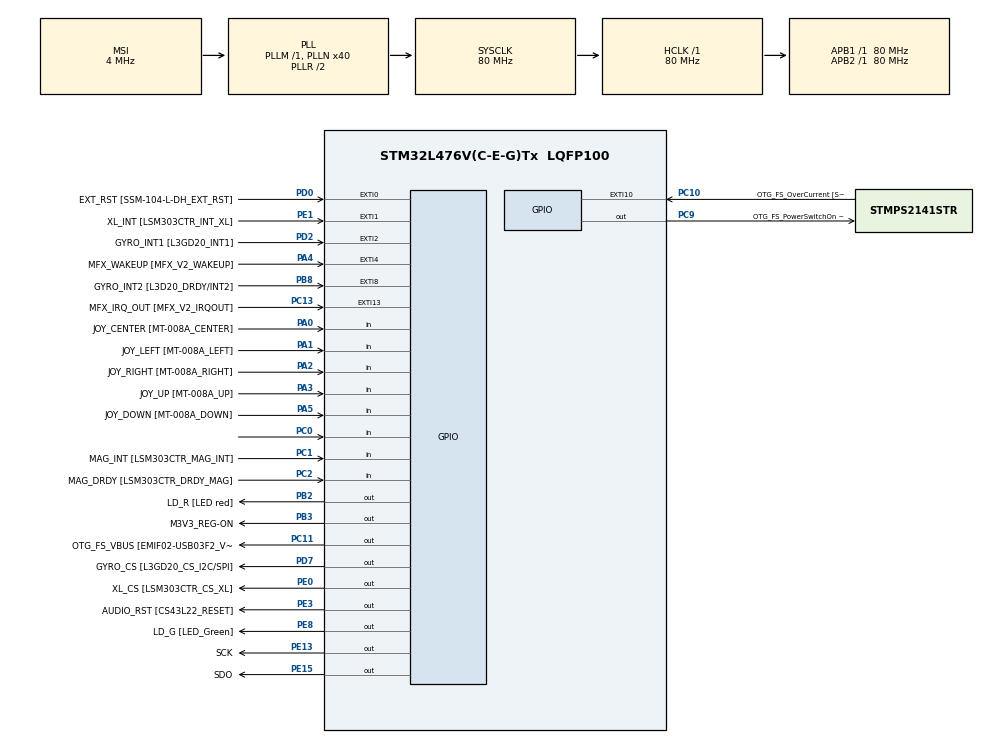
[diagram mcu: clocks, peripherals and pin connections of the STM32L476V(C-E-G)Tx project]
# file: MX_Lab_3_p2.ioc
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Mcu.Family=STM32L4
Mcu.Name=STM32L476V(C-E-G)Tx
Mcu.Package=LQFP100
NVIC.PriorityGroup=NVIC_PRIORITYGROUP_4
PA0.GPIO_Label=JOY_CENTER [MT-008A_CENTER]
PA0.GPIO_Mode=GPIO_MODE_INPUT
PA0.GPIO_PuPd=GPIO_PULLDOWN
PA0.Signal=GPIO_Input
PA1.GPIO_Label=JOY_LEFT [MT-008A_LEFT]
PA1.GPIO_Mode=GPIO_MODE_INPUT
PA1.GPIO_PuPd=GPIO_PULLDOWN
PA1.Signal=GPIO_Input
PA10.GPIO_Label=COM2 [GH08172T_COM2]
PA10.GPIO_Mode=GPIO_MODE_AF_PP
PA10.GPIO_PuPd=GPIO_NOPULL
PA10.GPIO_Speed=GPIO_SPEED_FREQ_LOW
PA10.Signal=LCD_COM2
PA11.GPIO_Label=OTG_FS_DM [EMIF02-USB03F2_D-out]
PA11.GPIO_Mode=GPIO_MODE_AF_PP
PA11.GPIO_PuPd=GPIO_NOPULL
PA11.GPIO_Speed=GPIO_SPEED_FREQ_VERY_HIGH
PA11.Signal=USB_OTG_FS_DM
PA12.GPIO_Label=OTG_FS_DP [EMIF02-USB03F2_D+out]
PA12.GPIO_Mode=GPIO_MODE_AF_PP
PA12.GPIO_PuPd=GPIO_NOPULL
PA12.GPIO_Speed=GPIO_SPEED_FREQ_VERY_HIGH
PA12.Signal=USB_OTG_FS_DP
PA13\ (JTMS-SWDIO).GPIO_Label=SWDIO
PA13\ (JTMS-SWDIO).Mode=Serial_Wire
PA13\ (JTMS-SWDIO).Signal=SYS_JTMS-SWDIO
PA14\ (JTCK-SWCLK).GPIO_Label=SWCLK
PA14\ (JTCK-SWCLK).Mode=Serial_Wire
PA14\ (JTCK-SWCLK).Signal=SYS_JTCK-SWCLK
PA15\ (JTDI).GPIO_Label=SEG10 [GH08172T_SEG10]
PA15\ (JTDI).GPIO_Mode=GPIO_MODE_AF_PP
PA15\ (JTDI).GPIO_PuPd=GPIO_NOPULL
PA15\ (JTDI).GPIO_Speed=GPIO_SPEED_FREQ_LOW
PA15\ (JTDI).Signal=LCD_SEG17
PA2.GPIO_Label=JOY_RIGHT [MT-008A_RIGHT]
PA2.GPIO_Mode=GPIO_MODE_INPUT
PA2.GPIO_PuPd=GPIO_PULLDOWN
PA2.Signal=GPIO_Input
PA3.GPIO_Label=JOY_UP [MT-008A_UP]
PA3.GPIO_Mode=GPIO_MODE_INPUT
PA3.GPIO_PuPd=GPIO_PULLDOWN
PA3.Signal=GPIO_Input
PA4.GPIO_Label=MFX_WAKEUP [MFX_V2_WAKEUP]
PA4.GPIO_ModeDefaultEXTI=GPIO_MODE_EVT_RISING
PA4.GPIO_PuPd=GPIO_NOPULL
PA4.Signal=GPXTI4
PA5.GPIO_Label=JOY_DOWN [MT-008A_DOWN]
PA5.GPIO_Mode=GPIO_MODE_INPUT
PA5.GPIO_PuPd=GPIO_PULLDOWN
PA5.Signal=GPIO_Input
PA6.GPIO_Label=SEG23 [GH08172T_SEG23]
PA6.GPIO_Mode=GPIO_MODE_AF_PP
PA6.GPIO_PuPd=GPIO_NOPULL
PA6.GPIO_Speed=GPIO_SPEED_FREQ_LOW
PA6.Signal=LCD_SEG3
PA7.GPIO_Label=SEG0 [GH08172T_SEG0]
PA7.GPIO_Mode=GPIO_MODE_AF_PP
PA7.GPIO_PuPd=GPIO_NOPULL
PA7.GPIO_Speed=GPIO_SPEED_FREQ_LOW
PA7.Signal=LCD_SEG4
PA8.GPIO_Label=COM0 [GH08172T_COM0]
PA8.GPIO_Mode=GPIO_MODE_AF_PP
PA8.GPIO_PuPd=GPIO_NOPULL
PA8.GPIO_Speed=GPIO_SPEED_FREQ_LOW
PA8.Signal=LCD_COM0
PA9.GPIO_Label=COM1 [GH08172T_COM1]
PA9.GPIO_Mode=GPIO_MODE_AF_PP
PA9.GPIO_PuPd=GPIO_NOPULL
PA9.GPIO_Speed=GPIO_SPEED_FREQ_LOW
PA9.Signal=LCD_COM1
PB0.GPIO_Label=SEG21 [GH08172T_SEG21]
PB0.GPIO_Mode=GPIO_MODE_AF_PP
PB0.GPIO_PuPd=GPIO_NOPULL
PB0.GPIO_Speed=GPIO_SPEED_FREQ_LOW
PB0.Signal=LCD_SEG5
PB1.GPIO_Label=SEG2 [GH08172T_SEG2]
PB1.GPIO_Mode=GPIO_MODE_AF_PP
PB1.GPIO_PuPd=GPIO_NOPULL
PB1.GPIO_Speed=GPIO_SPEED_FREQ_LOW
PB1.Signal=LCD_SEG6
PB10.GPIO_Label=MFX_I2C_SLC [MFX_V2_I2C_SCL]
PB10.GPIO_Mode=GPIO_MODE_AF_OD
PB10.GPIO_Pu=GPIO_PULLUP
PB10.GPIO_Speed=GPIO_SPEED_FREQ_VERY_HIGH
PB10.Signal=I2C2_SCL
PB11.GPIO_Label=MFX_I2C_SDA [MFX_V2_I2C_SDA]
PB11.GPIO_Mode=GPIO_MODE_AF_OD
PB11.GPIO_Pu=GPIO_PULLUP
PB11.GPIO_Speed=GPIO_SPEED_FREQ_VERY_HIGH
PB11.Signal=I2C2_SDA
PB12.GPIO_Label=SEG20 [GH08172T_SEG20]
PB12.GPIO_Mode=GPIO_MODE_AF_PP
PB12.GPIO_PuPd=GPIO_NOPULL
PB12.GPIO_Speed=GPIO_SPEED_FREQ_LOW
PB12.Signal=LCD_SEG12
PB13.GPIO_Label=SEG3 [GH08172T_SEG3]
PB13.GPIO_Mode=GPIO_MODE_AF_PP
PB13.GPIO_PuPd=GPIO_NOPULL
PB13.GPIO_Speed=GPIO_SPEED_FREQ_LOW
PB13.Signal=LCD_SEG13
PB14.GPIO_Label=SEG19 [GH08172T_SEG19]
PB14.GPIO_Mode=GPIO_MODE_AF_PP
PB14.GPIO_PuPd=GPIO_NOPULL
PB14.GPIO_Speed=GPIO_SPEED_FREQ_LOW
PB14.Signal=LCD_SEG14
PB15.GPIO_Label=SEG4 [GH08172T_SEG4]
PB15.GPIO_Mode=GPIO_MODE_AF_PP
PB15.GPIO_PuPd=GPIO_NOPULL
PB15.GPIO_Speed=GPIO_SPEED_FREQ_LOW
PB15.Signal=LCD_SEG15
PB2.GPIO_Label=LD_R [LED red]
PB2.GPIO_ModeDefaultOutputPP=GPIO_MODE_OUTPUT_PP
PB2.GPIO_PuPd=GPIO_PULLUP
PB2.GPIO_Speed=GPIO_SPEED_FREQ_VERY_HIGH
PB2.Signal=GPIO_Output
PB3\ (JTDO-TRACESWO).GPIO_Label=M3V3_REG-ON
PB3\ (JTDO-TRACESWO).GPIO_ModeDefaultOutputPP=GPIO_MODE_OUTPUT_PP
PB3\ (JTDO-TRACESWO).GPIO_PuPd=GPIO_NOPULL
PB3\ (JTDO-TRACESWO).GPIO_Speed=GPIO_SPEED_FREQ_LOW
PB3\ (JTDO-TRACESWO).Signal=GPIO_Output
PB4\ (NJTRST).GPIO_Label=SEG11 [GH08172T_SEG11]
PB4\ (NJTRST).GPIO_Mode=GPIO_MODE_AF_PP
PB4\ (NJTRST).GPIO_PuPd=GPIO_NOPULL
PB4\ (NJTRST).GPIO_Speed=GPIO_SPEED_FREQ_LOW
PB4\ (NJTRST).Signal=LCD_SEG8
PB5.GPIO_Label=SEG12 [GH08172T_SEG12]
PB5.GPIO_Mode=GPIO_MODE_AF_PP
PB5.GPIO_PuPd=GPIO_NOPULL
PB5.GPIO_Speed=GPIO_SPEED_FREQ_LOW
PB5.Signal=LCD_SEG9
PB6.GPIO_FM6=__NULL
PB6.GPIO_Label=I2C1_SCL [SSM-104-L-DH_SCL]
PB6.GPIO_Mode=GPIO_MODE_AF_OD
PB6.GPIO_Pu=GPIO_PULLUP
PB6.GPIO_Speed=GPIO_SPEED_FREQ_VERY_HIGH
PB6.Signal=I2C1_SCL
PB7.GPIO_FM7=__NULL
PB7.GPIO_Label=I2C1_SDA [SSM-104-L-DH_SDA]
PB7.GPIO_Mode=GPIO_MODE_AF_OD
PB7.GPIO_Pu=GPIO_PULLUP
PB7.GPIO_Speed=GPIO_SPEED_FREQ_VERY_HIGH
PB7.Signal=I2C1_SDA
PB8.GPIO_Label=GYRO_INT2 [L3D20_DRDY/INT2]
PB8.GPIO_ModeDefaultEXTI=GPIO_MODE_EVT_RISING
PB8.GPIO_PuPd=GPIO_NOPULL
PB8.Signal=GPXTI8
PB9.GPIO_FM9=__NULL
PB9.GPIO_Label=COM3 [GH08172T_COM3]
PB9.GPIO_Mode=GPIO_MODE_AF_PP
PB9.GPIO_PuPd=GPIO_NOPULL
PB9.GPIO_Speed=GPIO_SPEED_FREQ_LOW
PB9.Signal=LCD_COM3
PC0.Signal=GPIO_Input
PC1.GPIO_Label=MAG_INT [LSM303CTR_MAG_INT]
PC1.GPIO_Mode=GPIO_MODE_INPUT
PC1.GPIO_PuPd=GPIO_NOPULL
PC1.Signal=GPIO_Input
PC10.GPIO_Label=OTG_FS_OverCurrent [STMPS2141STR_FAULT]
PC10.GPIO_ModeDefaultEXTI=GPIO_MODE_EVT_RISING
PC10.GPIO_PuPd=GPIO_NOPULL
PC10.Signal=GPXTI10
PC11.GPIO_Label=OTG_FS_VBUS [EMIF02-USB03F2_Vbus]
PC11.GPIO_ModeDefaultOutputPP=GPIO_MODE_OUTPUT_PP
PC11.GPIO_PuPd=GPIO_NOPULL
PC11.GPIO_Speed=GPIO_SPEED_FREQ_LOW
PC11.Signal=GPIO_Output
PC13.GPIO_Label=MFX_IRQ_OUT [MFX_V2_IRQOUT]
PC13.GPIO_ModeDefaultEXTI=GPIO_MODE_EVT_RISING
PC13.GPIO_PuPd=GPIO_NOPULL
PC13.Signal=GPXTI13
PC14-OSC32_IN\ (PC14).Mode=LSE-External-Oscillator
PC14-OSC32_IN\ (PC14).Signal=RCC_OSC32_IN
PC15-OSC32_OUT\ (PC15).Mode=LSE-External-Oscillator
PC15-OSC32_OUT\ (PC15).Signal=RCC_OSC32_OUT
PC2.GPIO_Label=MAG_DRDY [LSM303CTR_DRDY_MAG]
PC2.GPIO_Mode=GPIO_MODE_INPUT
PC2.GPIO_PuPd=GPIO_NOPULL
PC2.Signal=GPIO_Input
PC3.GPIO_Label=VLCD
PC3.GPIO_Mode=GPIO_MODE_AF_PP
PC3.GPIO_PuPd=GPIO_NOPULL
PC3.GPIO_Speed=GPIO_SPEED_FREQ_LOW
PC3.Signal=LCD_VLCD
PC4.GPIO_Label=SEG22 [GH08172T_SEG22]
PC4.GPIO_Mode=GPIO_MODE_AF_PP
PC4.GPIO_PuPd=GPIO_NOPULL
PC4.GPIO_Speed=GPIO_SPEED_FREQ_LOW
PC4.Signal=LCD_SEG22
PC5.GPIO_Label=SEG1 [GH08172T_SEG1]
PC5.GPIO_Mode=GPIO_MODE_AF_PP
PC5.GPIO_PuPd=GPIO_NOPULL
PC5.GPIO_Speed=GPIO_SPEED_FREQ_LOW
PC5.Signal=LCD_SEG23
PC6.GPIO_Label=SEG14 [GH08172T_SEG14]
PC6.GPIO_Mode=GPIO_MODE_AF_PP
PC6.GPIO_PuPd=GPIO_NOPULL
PC6.GPIO_Speed=GPIO_SPEED_FREQ_LOW
PC6.Signal=LCD_SEG24
PC7.GPIO_Label=SEG9 [GH08172T_SEG9]
PC7.GPIO_Mode=GPIO_MODE_AF_PP
PC7.GPIO_PuPd=GPIO_NOPULL
PC7.GPIO_Speed=GPIO_SPEED_FREQ_LOW
PC7.Signal=LCD_SEG25
PC8.GPIO_Label=SEG13 [GH08172T_SEG13]
PC8.GPIO_Mode=GPIO_MODE_AF_PP
PC8.GPIO_PuPd=GPIO_NOPULL
PC8.GPIO_Speed=GPIO_SPEED_FREQ_LOW
PC8.Signal=LCD_SEG26
PC9.GPIO_Label=OTG_FS_PowerSwitchOn [STMPS2141STR_EN]
PC9.GPIO_ModeDefaultOutputPP=GPIO_MODE_OUTPUT_PP
PC9.GPIO_PuPd=GPIO_NOPULL
PC9.GPIO_Speed=GPIO_SPEED_FREQ_LOW
PC9.PinState=GPIO_PIN_SET
PC9.Signal=GPIO_Output
PD0.GPIO_Label=EXT_RST [SSM-104-L-DH_EXT_RST]
PD0.GPIO_ModeDefaultEXTI=GPIO_MODE_EVT_RISING
PD0.GPIO_PuPd=GPIO_NOPULL
PD0.Signal=GPXTI0
PD1.GPIO_Label=MEMS_SCK [L3GD20_SCL/SPC]
PD1.GPIO_Mode=GPIO_MODE_AF_PP
PD1.GPIO_PuPd=GPIO_NOPULL
PD1.GPIO_Speed=GPIO_SPEED_FREQ_VERY_HIGH
PD1.Signal=SPI2_SCK
PD10.GPIO_Label=SEG17 [GH08172T_SEG17]
PD10.GPIO_Mode=GPIO_MODE_AF_PP
PD10.GPIO_PuPd=GPIO_NOPULL
PD10.GPIO_Speed=GPIO_SPEED_FREQ_LOW
PD10.Signal=LCD_SEG30
PD11.GPIO_Label=SEG6 [GH08172T_SEG6]
PD11.GPIO_Mode=GPIO_MODE_AF_PP
PD11.GPIO_PuPd=GPIO_NOPULL
PD11.GPIO_Speed=GPIO_SPEED_FREQ_LOW
PD11.Signal=LCD_SEG31
PD12.GPIO_Label=SEG16 [GH08172T_SEG16]
PD12.GPIO_Mode=GPIO_MODE_AF_PP
PD12.GPIO_PuPd=GPIO_NOPULL
PD12.GPIO_Speed=GPIO_SPEED_FREQ_LOW
PD12.Signal=LCD_SEG32
PD13.GPIO_Label=SEG7 [GH08172T_SEG7]
PD13.GPIO_Mode=GPIO_MODE_AF_PP
PD13.GPIO_PuPd=GPIO_NOPULL
PD13.GPIO_Speed=GPIO_SPEED_FREQ_LOW
PD13.Signal=LCD_SEG33
PD14.GPIO_Label=SEG15 [GH08172T_SEG15]
PD14.GPIO_Mode=GPIO_MODE_AF_PP
PD14.GPIO_PuPd=GPIO_NOPULL
PD14.GPIO_Speed=GPIO_SPEED_FREQ_LOW
PD14.Signal=LCD_SEG34
PD15.GPIO_Label=SEG8 [GH08172T_SEG8]
PD15.GPIO_Mode=GPIO_MODE_AF_PP
PD15.GPIO_PuPd=GPIO_NOPULL
PD15.GPIO_Speed=GPIO_SPEED_FREQ_LOW
PD15.Signal=LCD_SEG35
PD2.GPIO_Label=GYRO_INT1 [L3GD20_INT1]
PD2.GPIO_ModeDefaultEXTI=GPIO_MODE_EVT_RISING
PD2.GPIO_PuPd=GPIO_NOPULL
PD2.Signal=GPXTI2
PD3.GPIO_Label=MEMS_MISO [L3GD20_SA0/SDO]
PD3.GPIO_Mode=GPIO_MODE_AF_PP
PD3.GPIO_PuPd=GPIO_NOPULL
PD3.GPIO_Speed=GPIO_SPEED_FREQ_VERY_HIGH
PD3.Signal=SPI2_MISO
PD4.GPIO_Label=MEMS_MOSI [L3GD20_SDA/SDI/SDO]
PD4.GPIO_Mode=GPIO_MODE_AF_PP
PD4.GPIO_PuPd=GPIO_NOPULL
PD4.GPIO_Speed=GPIO_SPEED_FREQ_VERY_HIGH
PD4.Signal=SPI2_MOSI
PD5.GPIO_Label=USART_TX
PD5.GPIO_Mode=GPIO_MODE_AF_PP
PD5.GPIO_PuPd=GPIO_PULLUP
PD5.GPIO_Speed=GPIO_SPEED_FREQ_VERY_HIGH
PD5.Signal=USART2_TX
PD6.GPIO_Label=USART_RX
PD6.GPIO_Mode=GPIO_MODE_AF_PP
PD6.GPIO_PuPd=GPIO_PULLUP
PD6.GPIO_Speed=GPIO_SPEED_FREQ_VERY_HIGH
PD6.Signal=USART2_RX
PD7.GPIO_Label=GYRO_CS [L3GD20_CS_I2C/SPI]
PD7.GPIO_ModeDefaultOutputPP=GPIO_MODE_OUTPUT_PP
PD7.GPIO_PuPd=GPIO_NOPULL
PD7.GPIO_Speed=GPIO_SPEED_FREQ_VERY_HIGH
PD7.Signal=GPIO_Output
PD8.GPIO_Label=SEG18 [GH08172T_SEG18]
PD8.GPIO_Mode=GPIO_MODE_AF_PP
PD8.GPIO_PuPd=GPIO_NOPULL
PD8.GPIO_Speed=GPIO_SPEED_FREQ_LOW
PD8.Signal=LCD_SEG28
PD9.GPIO_Label=SEG5 [GH08172T_SEG5]
PD9.GPIO_Mode=GPIO_MODE_AF_PP
PD9.GPIO_PuPd=GPIO_NOPULL
PD9.GPIO_Speed=GPIO_SPEED_FREQ_LOW
PD9.Signal=LCD_SEG29
PE0.GPIO_Label=XL_CS [LSM303CTR_CS_XL]
PE0.GPIO_ModeDefaultOutputPP=GPIO_MODE_OUTPUT_PP
PE0.GPIO_PuPd=GPIO_NOPULL
PE0.GPIO_Speed=GPIO_SPEED_FREQ_LOW
PE0.Signal=GPIO_Output
PE1.GPIO_Label=XL_INT [LSM303CTR_INT_XL]
PE1.GPIO_ModeDefaultEXTI=GPIO_MODE_EVT_RISING
PE1.GPIO_PuPd=GPIO_NOPULL
PE1.Signal=GPXTI1
PE10.GPIO_Label=QSPI_CLK [N25Q128A13EF840E_C]
PE10.GPIO_Mode=GPIO_MODE_AF_PP
PE10.GPIO_PuPd=GPIO_NOPULL
PE10.GPIO_Speed=GPIO_SPEED_FREQ_VERY_HIGH
PE10.Signal=QUADSPI_CLK
PE11.GPIO_Label=QSPI_CS [N25Q128A13EF840E_S\#]
PE11.GPIO_Mode=GPIO_MODE_AF_PP
PE11.GPIO_PuPd=GPIO_NOPULL
PE11.GPIO_Speed=GPIO_SPEED_FREQ_VERY_HIGH
PE11.Signal=QUADSPI_NCS
PE12.GPIO_Label=QSPI_D0 [N25Q128A13EF840E_DQ0]
PE12.GPIO_Mode=GPIO_MODE_AF_PP
PE12.GPIO_PuPd=GPIO_NOPULL
PE12.GPIO_Speed=GPIO_SPEED_FREQ_VERY_HIGH
PE12.Signal=QUADSPI_BK1_IO0
PE13.GPIO_Label=SCK
PE13.GPIO_Speed=GPIO_SPEED_FREQ_MEDIUM
PE13.Signal=GPIO_Output
PE14.GPIO_Label=QSPI_D2 [N25Q128A13EF840E_DQ2]
PE14.GPIO_Mode=GPIO_MODE_AF_PP
PE14.GPIO_PuPd=GPIO_NOPULL
PE14.GPIO_Speed=GPIO_SPEED_FREQ_VERY_HIGH
PE14.Signal=QUADSPI_BK1_IO2
PE15.GPIO_Label=SDO
PE15.GPIO_Speed=GPIO_SPEED_FREQ_MEDIUM
PE15.Signal=GPIO_Output
PE2.GPIO_Label=SAI1_MCK [CS43L22_MCLK]
PE2.GPIO_Mode=GPIO_MODE_AF_PP
PE2.GPIO_PuPd=GPIO_NOPULL
PE2.GPIO_Speed=GPIO_SPEED_FREQ_VERY_HIGH
PE2.Signal=SAI1_MCLK_A
PE3.GPIO_Label=AUDIO_RST [CS43L22_RESET]
PE3.GPIO_ModeDefaultOutputPP=GPIO_MODE_OUTPUT_PP
PE3.GPIO_PuPd=GPIO_NOPULL
PE3.GPIO_Speed=GPIO_SPEED_FREQ_HIGH
PE3.Signal=GPIO_Output
PE4.GPIO_Label=SAI1_FS [CS43L22_LRCK]
PE4.GPIO_Mode=GPIO_MODE_AF_PP
PE4.GPIO_PuPd=GPIO_NOPULL
PE4.GPIO_Speed=GPIO_SPEED_FREQ_VERY_HIGH
PE4.Signal=SAI1_FS_A
PE5.GPIO_Label=SAI1_SCK [CS43L22_SCLK]
PE5.GPIO_Mode=GPIO_MODE_AF_PP
PE5.GPIO_PuPd=GPIO_NOPULL
PE5.GPIO_Speed=GPIO_SPEED_FREQ_VERY_HIGH
PE5.Signal=SAI1_SCK_A
PE6.GPIO_Label=SAI1_SD [CS43L22_SDIN]
PE6.GPIO_Mode=GPIO_MODE_AF_PP
PE6.GPIO_PuPd=GPIO_NOPULL
PE6.GPIO_Speed=GPIO_SPEED_FREQ_VERY_HIGH
PE6.Signal=SAI1_SD_A
PE7.GPIO_Label=AUDIO_DIN [MP34DT01_DOUT]
PE7.GPIO_Mode=GPIO_MODE_AF_PP
PE7.GPIO_PuPd=GPIO_NOPULL
PE7.GPIO_Speed=GPIO_SPEED_FREQ_VERY_HIGH
PE7.Signal=SAI1_SD_B
PE8.GPIO_Label=LD_G [LED_Green]
PE8.GPIO_ModeDefaultOutputPP=GPIO_MODE_OUTPUT_PP
PE8.GPIO_PuPd=GPIO_PULLUP
PE8.GPIO_Speed=GPIO_SPEED_FREQ_VERY_HIGH
PE8.Signal=GPIO_Output
PE9.GPIO_Label=AUDIO_CLK [MP34DT01_CLK]
PE9.GPIO_Mode=GPIO_MODE_AF_PP
PE9.GPIO_PuPd=GPIO_NOPULL
PE9.GPIO_Speed=GPIO_SPEED_FREQ_LOW
PE9.Signal=SAI1_FS_B
PH0-OSC_IN\ (PH0).Mode=HSE-External-Oscillator
PH0-OSC_IN\ (PH0).Signal=RCC_OSC_IN
PH1-OSC_OUT\ (PH1).Mode=HSE-External-Oscillator
PH1-OSC_OUT\ (PH1).Signal=RCC_OSC_OUT
ProjectManager.HeapSize=0x200
ProjectManager.StackSize=0x400
ProjectManager.TargetToolchain=MDK-ARM V5.32
RCC.ADCFreq_Value=48000000
RCC.AHBFreq_Value=80000000
RCC.APB1Freq_Value=80000000
RCC.APB1TimFreq_Value=80000000
RCC.APB2Freq_Value=80000000
RCC.APB2TimFreq_Value=80000000
RCC.CortexFreq_Value=80000000
RCC.HCLKFreq_Value=80000000
RCC.HSE_VALUE=8000000
RCC.HSI_VALUE=16000000
RCC.MSI_VALUE=4000000
RCC.PLLN=40
RCC.PLLSAI1N=24
RCC.PREFETCH_ENABLE=1
RCC.SYSCLKFreq_VALUE=80000000
RCC.SYSCLKSource=RCC_SYSCLKSOURCE_PLLCLK
RCC.USBFreq_Value=48000000
RCC.VCOOutputFreq_Value=160000000
VP_RTC_VS_RTC_Activate.Mode=RTC_Enabled
board=STM32L476G-DISCO

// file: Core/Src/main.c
/* USER CODE BEGIN Header */
/**
  ******************************************************************************
  * @file           : main.c
  * @brief          : Main program body
  ******************************************************************************
  * @attention
  *
  * Copyright (c) 2024 STMicroelectronics.
  * All rights reserved.
  *
  * This software is licensed under terms that can be found in the LICENSE file
  * in the root directory of this software component.
  * If no LICENSE file comes with this software, it is provided AS-IS.
  *
  ******************************************************************************
  */
/* USER CODE END Header */
#include "main.h"

RTC_HandleTypeDef hrtc;

void SystemClock_Config(void);
static void MX_GPIO_Init(void);
static void MX_RTC_Init(void);

/* USER CODE BEGIN 0 */
/*****************************
/ send 32 bits out the SPI port - MSB first
 send out the 32 bits of c
 sclk starts low and ends low
 SCK_Pin is the SPI clock pin;
 SCK_GPIO_Port is the port
 SDO_Pin is the SPI data pin;
 SDO_GPIO_Port is the port */
int globalCount = 30;
void spi32(unsigned int c)
{
	int i;
  for (i = 0; i < 32; ++i) {
      if (c & 0x80000000)
				{
            HAL_GPIO_WritePin(SDO_GPIO_Port, SDO_Pin, GPIO_PIN_SET);
				}
        else
				{
            HAL_GPIO_WritePin(SDO_GPIO_Port, SDO_Pin, GPIO_PIN_RESET);
				}
        HAL_GPIO_WritePin(SCK_GPIO_Port, SCK_Pin, GPIO_PIN_SET);
				HAL_GPIO_WritePin(SCK_GPIO_Port, SCK_Pin, GPIO_PIN_RESET);
        c <<= 1;
		}
}
void send_array(uint32_t header, uint32_t color, uint32_t end)
{
	int i;
	spi32(header);
	for(i=0; i < 60; i++)
	{
		spi32(color);
	}
	spi32(end);
}
void bluemove (uint32_t header, uint32_t color, uint32_t end)
{
	uint32_t blue = 0xe4ff0000;
	int i;
	spi32(header);
	for(i=0; i < 60; i++)
	{
		if (i==globalCount)
		{
			spi32(blue);
		}
		else
		{
			spi32(color);
		}

	}
	spi32(end);
	globalCount++;
	if(globalCount > 60)
	{
		globalCount=0; //
	}

}
/* USER CODE END 0 */

int main(void)
{

  /* MCU Configuration--------------------------------------------------------*/

  /* Reset of all peripherals, Initializes the Flash interface and the Systick. */
  HAL_Init();

  /* Configure the system clock */
  SystemClock_Config();

  /* Initialize all configured peripherals */
  MX_GPIO_Init();
  MX_RTC_Init();
  /* USER CODE BEGIN 2 */
	uint32_t start = 0x00000000;
	uint32_t end = 0xffffffff;
	uint32_t red = 0xe40000ff;
	uint32_t blue = 0xe4ff0000;
	uint32_t green = 0xe400ff00;
	uint32_t black = 0xe0000000;
	//send_array(start, red ,end);
  /* USER CODE END 2 */

  /* Infinite loop */
  /* USER CODE BEGIN WHILE */
  while (1)
  {
		bluemove(start, black ,end); //other color that blue moves through is the middle argument
		HAL_Delay(250);
    /* USER CODE END WHILE */

  }
}

void SystemClock_Config(void)
{
  RCC_OscInitTypeDef RCC_OscInitStruct = {0};
  RCC_ClkInitTypeDef RCC_ClkInitStruct = {0};

  /** Configure the main internal regulator output voltage
  */
  if (HAL_PWREx_ControlVoltageScaling(PWR_REGULATOR_VOLTAGE_SCALE1) != HAL_OK)
  {
    Error_Handler();
  }

  /** Configure LSE Drive Capability
  */
  HAL_PWR_EnableBkUpAccess();
  __HAL_RCC_LSEDRIVE_CONFIG(RCC_LSEDRIVE_LOW);

  /** Initializes the RCC Oscillators according to the specified parameters
  * in the RCC_OscInitTypeDef structure.
  */
  RCC_OscInitStruct.OscillatorType = RCC_OSCILLATORTYPE_LSI|RCC_OSCILLATORTYPE_LSE
                              |RCC_OSCILLATORTYPE_MSI;
  RCC_OscInitStruct.LSEState = RCC_LSE_ON;
  RCC_OscInitStruct.LSIState = RCC_LSI_ON;
  RCC_OscInitStruct.MSIState = RCC_MSI_ON;
  RCC_OscInitStruct.MSICalibrationValue = 0;
  RCC_OscInitStruct.MSIClockRange = RCC_MSIRANGE_6;
  RCC_OscInitStruct.PLL.PLLState = RCC_PLL_ON;
  RCC_OscInitStruct.PLL.PLLSource = RCC_PLLSOURCE_MSI;
  RCC_OscInitStruct.PLL.PLLM = 1;
  RCC_OscInitStruct.PLL.PLLN = 40;
  RCC_OscInitStruct.PLL.PLLP = RCC_PLLP_DIV7;
  RCC_OscInitStruct.PLL.PLLQ = RCC_PLLQ_DIV2;
  RCC_OscInitStruct.PLL.PLLR = RCC_PLLR_DIV2;
  if (HAL_RCC_OscConfig(&RCC_OscInitStruct) != HAL_OK)
  {
    Error_Handler();
  }

  /** Initializes the CPU, AHB and APB buses clocks
  */
  RCC_ClkInitStruct.ClockType = RCC_CLOCKTYPE_HCLK|RCC_CLOCKTYPE_SYSCLK
                              |RCC_CLOCKTYPE_PCLK1|RCC_CLOCKTYPE_PCLK2;
  RCC_ClkInitStruct.SYSCLKSource = RCC_SYSCLKSOURCE_PLLCLK;
  RCC_ClkInitStruct.AHBCLKDivider = RCC_SYSCLK_DIV1;
  RCC_ClkInitStruct.APB1CLKDivider = RCC_HCLK_DIV1;
  RCC_ClkInitStruct.APB2CLKDivider = RCC_HCLK_DIV1;

  if (HAL_RCC_ClockConfig(&RCC_ClkInitStruct, FLASH_LATENCY_4) != HAL_OK)
  {
    Error_Handler();
  }

  /** Enable MSI Auto calibration
  */
  HAL_RCCEx_EnableMSIPLLMode();
}

static void MX_RTC_Init(void)
{

  /** Initialize RTC Only
  */
  hrtc.Instance = RTC;
  hrtc.Init.HourFormat = RTC_HOURFORMAT_24;
  hrtc.Init.AsynchPrediv = 127;
  hrtc.Init.SynchPrediv = 255;
  hrtc.Init.OutPut = RTC_OUTPUT_DISABLE;
  hrtc.Init.OutPutRemap = RTC_OUTPUT_REMAP_NONE;
  hrtc.Init.OutPutPolarity = RTC_OUTPUT_POLARITY_HIGH;
  hrtc.Init.OutPutType = RTC_OUTPUT_TYPE_OPENDRAIN;
  if (HAL_RTC_Init(&hrtc) != HAL_OK)
  {
    Error_Handler();
  }

}

static void MX_GPIO_Init(void)
{
  GPIO_InitTypeDef GPIO_InitStruct = {0};

  /* GPIO Ports Clock Enable */
  __HAL_RCC_GPIOE_CLK_ENABLE();
  __HAL_RCC_GPIOC_CLK_ENABLE();
  __HAL_RCC_GPIOH_CLK_ENABLE();
  __HAL_RCC_GPIOA_CLK_ENABLE();
  __HAL_RCC_GPIOB_CLK_ENABLE();
  __HAL_RCC_GPIOD_CLK_ENABLE();

  /*Configure GPIO pin Output Level */
  HAL_GPIO_WritePin(GPIOE, AUDIO_RST_Pin|LD_G_Pin|SCK_Pin|SDO_Pin
                          |XL_CS_Pin, GPIO_PIN_RESET);

  /*Configure GPIO pin Output Level */
  HAL_GPIO_WritePin(GPIOB, LD_R_Pin|M3V3_REG_ON_Pin, GPIO_PIN_RESET);

  /*Configure GPIO pin Output Level */
  HAL_GPIO_WritePin(OTG_FS_PowerSwitchOn_GPIO_Port, OTG_FS_PowerSwitchOn_Pin, GPIO_PIN_SET);

  /*Configure GPIO pin Output Level */
  HAL_GPIO_WritePin(OTG_FS_VBUS_GPIO_Port, OTG_FS_VBUS_Pin, GPIO_PIN_RESET);

  /*Configure GPIO pin Output Level */
  HAL_GPIO_WritePin(GYRO_CS_GPIO_Port, GYRO_CS_Pin, GPIO_PIN_RESET);

  /*Configure GPIO pins : SAI1_MCK_Pin SAI1_FS_Pin SAI1_SCK_Pin SAI1_SD_Pin
                           AUDIO_DIN_Pin */
  GPIO_InitStruct.Pin = SAI1_MCK_Pin|SAI1_FS_Pin|SAI1_SCK_Pin|SAI1_SD_Pin
                          |AUDIO_DIN_Pin;
  GPIO_InitStruct.Mode = GPIO_MODE_AF_PP;
  GPIO_InitStruct.Pull = GPIO_NOPULL;
  GPIO_InitStruct.Speed = GPIO_SPEED_FREQ_VERY_HIGH;
  GPIO_InitStruct.Alternate = GPIO_AF13_SAI1;
  HAL_GPIO_Init(GPIOE, &GPIO_InitStruct);

  /*Configure GPIO pin : AUDIO_RST_Pin */
  GPIO_InitStruct.Pin = AUDIO_RST_Pin;
  GPIO_InitStruct.Mode = GPIO_MODE_OUTPUT_PP;
  GPIO_InitStruct.Pull = GPIO_NOPULL;
  GPIO_InitStruct.Speed = GPIO_SPEED_FREQ_HIGH;
  HAL_GPIO_Init(AUDIO_RST_GPIO_Port, &GPIO_InitStruct);

  /*Configure GPIO pins : MFX_IRQ_OUT_Pin OTG_FS_OverCurrent_Pin */
  GPIO_InitStruct.Pin = MFX_IRQ_OUT_Pin|OTG_FS_OverCurrent_Pin;
  GPIO_InitStruct.Mode = GPIO_MODE_EVT_RISING;
  GPIO_InitStruct.Pull = GPIO_NOPULL;
  HAL_GPIO_Init(GPIOC, &GPIO_InitStruct);

  /*Configure GPIO pins : PC0 MAG_INT_Pin MAG_DRDY_Pin */
  GPIO_InitStruct.Pin = GPIO_PIN_0|MAG_INT_Pin|MAG_DRDY_Pin;
  GPIO_InitStruct.Mode = GPIO_MODE_INPUT;
  GPIO_InitStruct.Pull = GPIO_NOPULL;
  HAL_GPIO_Init(GPIOC, &GPIO_InitStruct);

  /*Configure GPIO pins : VLCD_Pin SEG22_Pin SEG1_Pin SEG14_Pin
                           SEG9_Pin SEG13_Pin */
  GPIO_InitStruct.Pin = VLCD_Pin|SEG22_Pin|SEG1_Pin|SEG14_Pin
                          |SEG9_Pin|SEG13_Pin;
  GPIO_InitStruct.Mode = GPIO_MODE_AF_PP;
  GPIO_InitStruct.Pull = GPIO_NOPULL;
  GPIO_InitStruct.Speed = GPIO_SPEED_FREQ_LOW;
  GPIO_InitStruct.Alternate = GPIO_AF11_LCD;
  HAL_GPIO_Init(GPIOC, &GPIO_InitStruct);

  /*Configure GPIO pins : JOY_CENTER_Pin JOY_LEFT_Pin JOY_RIGHT_Pin JOY_UP_Pin
                           JOY_DOWN_Pin */
  GPIO_InitStruct.Pin = JOY_CENTER_Pin|JOY_LEFT_Pin|JOY_RIGHT_Pin|JOY_UP_Pin
                          |JOY_DOWN_Pin;
  GPIO_InitStruct.Mode = GPIO_MODE_INPUT;
  GPIO_InitStruct.Pull = GPIO_PULLDOWN;
  HAL_GPIO_Init(GPIOA, &GPIO_InitStruct);

  /*Configure GPIO pin : MFX_WAKEUP_Pin */
  GPIO_InitStruct.Pin = MFX_WAKEUP_Pin;
  GPIO_InitStruct.Mode = GPIO_MODE_EVT_RISING;
  GPIO_InitStruct.Pull = GPIO_NOPULL;
  HAL_GPIO_Init(MFX_WAKEUP_GPIO_Port, &GPIO_InitStruct);

  /*Configure GPIO pins : SEG23_Pin SEG0_Pin COM0_Pin COM1_Pin
                           COM2_Pin SEG10_Pin */
  GPIO_InitStruct.Pin = SEG23_Pin|SEG0_Pin|COM0_Pin|COM1_Pin
                          |COM2_Pin|SEG10_Pin;
  GPIO_InitStruct.Mode = GPIO_MODE_AF_PP;
  GPIO_InitStruct.Pull = GPIO_NOPULL;
  GPIO_InitStruct.Speed = GPIO_SPEED_FREQ_LOW;
  GPIO_InitStruct.Alternate = GPIO_AF11_LCD;
  HAL_GPIO_Init(GPIOA, &GPIO_InitStruct);

  /*Configure GPIO pins : SEG21_Pin SEG2_Pin SEG20_Pin SEG3_Pin
                           SEG19_Pin SEG4_Pin SEG11_Pin SEG12_Pin
                           COM3_Pin */
  GPIO_InitStruct.Pin = SEG21_Pin|SEG2_Pin|SEG20_Pin|SEG3_Pin
                          |SEG19_Pin|SEG4_Pin|SEG11_Pin|SEG12_Pin
                          |COM3_Pin;
  GPIO_InitStruct.Mode = GPIO_MODE_AF_PP;
  GPIO_InitStruct.Pull = GPIO_NOPULL;
  GPIO_InitStruct.Speed = GPIO_SPEED_FREQ_LOW;
  GPIO_InitStruct.Alternate = GPIO_AF11_LCD;
  HAL_GPIO_Init(GPIOB, &GPIO_InitStruct);

  /*Configure GPIO pin : LD_R_Pin */
  GPIO_InitStruct.Pin = LD_R_Pin;
  GPIO_InitStruct.Mode = GPIO_MODE_OUTPUT_PP;
  GPIO_InitStruct.Pull = GPIO_PULLUP;
  GPIO_InitStruct.Speed = GPIO_SPEED_FREQ_VERY_HIGH;
  HAL_GPIO_Init(LD_R_GPIO_Port, &GPIO_InitStruct);

  /*Configure GPIO pin : LD_G_Pin */
  GPIO_InitStruct.Pin = LD_G_Pin;
  GPIO_InitStruct.Mode = GPIO_MODE_OUTPUT_PP;
  GPIO_InitStruct.Pull = GPIO_PULLUP;
  GPIO_InitStruct.Speed = GPIO_SPEED_FREQ_VERY_HIGH;
  HAL_GPIO_Init(LD_G_GPIO_Port, &GPIO_InitStruct);

  /*Configure GPIO pin : AUDIO_CLK_Pin */
  GPIO_InitStruct.Pin = AUDIO_CLK_Pin;
  GPIO_InitStruct.Mode = GPIO_MODE_AF_PP;
  GPIO_InitStruct.Pull = GPIO_NOPULL;
  GPIO_InitStruct.Speed = GPIO_SPEED_FREQ_LOW;
  GPIO_InitStruct.Alternate = GPIO_AF13_SAI1;
  HAL_GPIO_Init(AUDIO_CLK_GPIO_Port, &GPIO_InitStruct);

  /*Configure GPIO pins : QSPI_CLK_Pin QSPI_CS_Pin QSPI_D0_Pin QSPI_D2_Pin */
  GPIO_InitStruct.Pin = QSPI_CLK_Pin|QSPI_CS_Pin|QSPI_D0_Pin|QSPI_D2_Pin;
  GPIO_InitStruct.Mode = GPIO_MODE_AF_PP;
  GPIO_InitStruct.Pull = GPIO_NOPULL;
  GPIO_InitStruct.Speed = GPIO_SPEED_FREQ_VERY_HIGH;
  GPIO_InitStruct.Alternate = GPIO_AF10_QUADSPI;
  HAL_GPIO_Init(GPIOE, &GPIO_InitStruct);

  /*Configure GPIO pins : SCK_Pin SDO_Pin */
  GPIO_InitStruct.Pin = SCK_Pin|SDO_Pin;
  GPIO_InitStruct.Mode = GPIO_MODE_OUTPUT_PP;
  GPIO_InitStruct.Pull = GPIO_NOPULL;
  GPIO_InitStruct.Speed = GPIO_SPEED_FREQ_MEDIUM;
  HAL_GPIO_Init(GPIOE, &GPIO_InitStruct);

  /*Configure GPIO pins : MFX_I2C_SLC_Pin MFX_I2C_SDA_Pin */
  GPIO_InitStruct.Pin = MFX_I2C_SLC_Pin|MFX_I2C_SDA_Pin;
  GPIO_InitStruct.Mode = GPIO_MODE_AF_OD;
  GPIO_InitStruct.Pull = GPIO_PULLUP;
  GPIO_InitStruct.Speed = GPIO_SPEED_FREQ_VERY_HIGH;
  GPIO_InitStruct.Alternate = GPIO_AF4_I2C2;
  HAL_GPIO_Init(GPIOB, &GPIO_InitStruct);

  /*Configure GPIO pins : SEG18_Pin SEG5_Pin SEG17_Pin SEG6_Pin
                           SEG16_Pin SEG7_Pin SEG15_Pin SEG8_Pin */
  GPIO_InitStruct.Pin = SEG18_Pin|SEG5_Pin|SEG17_Pin|SEG6_Pin
                          |SEG16_Pin|SEG7_Pin|SEG15_Pin|SEG8_Pin;
  GPIO_InitStruct.Mode = GPIO_MODE_AF_PP;
  GPIO_InitStruct.Pull = GPIO_NOPULL;
  GPIO_InitStruct.Speed = GPIO_SPEED_FREQ_LOW;
  GPIO_InitStruct.Alternate = GPIO_AF11_LCD;
  HAL_GPIO_Init(GPIOD, &GPIO_InitStruct);

  /*Configure GPIO pins : OTG_FS_PowerSwitchOn_Pin OTG_FS_VBUS_Pin */
  GPIO_InitStruct.Pin = OTG_FS_PowerSwitchOn_Pin|OTG_FS_VBUS_Pin;
  GPIO_InitStruct.Mode = GPIO_MODE_OUTPUT_PP;
  GPIO_InitStruct.Pull = GPIO_NOPULL;
  GPIO_InitStruct.Speed = GPIO_SPEED_FREQ_LOW;
  HAL_GPIO_Init(GPIOC, &GPIO_InitStruct);

  /*Configure GPIO pins : OTG_FS_DM_Pin OTG_FS_DP_Pin */
  GPIO_InitStruct.Pin = OTG_FS_DM_Pin|OTG_FS_DP_Pin;
  GPIO_InitStruct.Mode = GPIO_MODE_AF_PP;
  GPIO_InitStruct.Pull = GPIO_NOPULL;
  GPIO_InitStruct.Speed = GPIO_SPEED_FREQ_VERY_HIGH;
  GPIO_InitStruct.Alternate = GPIO_AF10_OTG_FS;
  HAL_GPIO_Init(GPIOA, &GPIO_InitStruct);

  /*Configure GPIO pins : EXT_RST_Pin GYRO_INT1_Pin */
  GPIO_InitStruct.Pin = EXT_RST_Pin|GYRO_INT1_Pin;
  GPIO_InitStruct.Mode = GPIO_MODE_EVT_RISING;
  GPIO_InitStruct.Pull = GPIO_NOPULL;
  HAL_GPIO_Init(GPIOD, &GPIO_InitStruct);

  /*Configure GPIO pins : MEMS_SCK_Pin MEMS_MISO_Pin MEMS_MOSI_Pin */
  GPIO_InitStruct.Pin = MEMS_SCK_Pin|MEMS_MISO_Pin|MEMS_MOSI_Pin;
  GPIO_InitStruct.Mode = GPIO_MODE_AF_PP;
  GPIO_InitStruct.Pull = GPIO_NOPULL;
  GPIO_InitStruct.Speed = GPIO_SPEED_FREQ_VERY_HIGH;
  GPIO_InitStruct.Alternate = GPIO_AF5_SPI2;
  HAL_GPIO_Init(GPIOD, &GPIO_InitStruct);

  /*Configure GPIO pins : USART_TX_Pin USART_RX_Pin */
  GPIO_InitStruct.Pin = USART_TX_Pin|USART_RX_Pin;
  GPIO_InitStruct.Mode = GPIO_MODE_AF_PP;
  GPIO_InitStruct.Pull = GPIO_PULLUP;
  GPIO_InitStruct.Speed = GPIO_SPEED_FREQ_VERY_HIGH;
  GPIO_InitStruct.Alternate = GPIO_AF7_USART2;
  HAL_GPIO_Init(GPIOD, &GPIO_InitStruct);

  /*Configure GPIO pin : GYRO_CS_Pin */
  GPIO_InitStruct.Pin = GYRO_CS_Pin;
  GPIO_InitStruct.Mode = GPIO_MODE_OUTPUT_PP;
  GPIO_InitStruct.Pull = GPIO_NOPULL;
  GPIO_InitStruct.Speed = GPIO_SPEED_FREQ_VERY_HIGH;
  HAL_GPIO_Init(GYRO_CS_GPIO_Port, &GPIO_InitStruct);

  /*Configure GPIO pin : M3V3_REG_ON_Pin */
  GPIO_InitStruct.Pin = M3V3_REG_ON_Pin;
  GPIO_InitStruct.Mode = GPIO_MODE_OUTPUT_PP;
  GPIO_InitStruct.Pull = GPIO_NOPULL;
  GPIO_InitStruct.Speed = GPIO_SPEED_FREQ_LOW;
  HAL_GPIO_Init(M3V3_REG_ON_GPIO_Port, &GPIO_InitStruct);

  /*Configure GPIO pins : I2C1_SCL_Pin I2C1_SDA_Pin */
  GPIO_InitStruct.Pin = I2C1_SCL_Pin|I2C1_SDA_Pin;
  GPIO_InitStruct.Mode = GPIO_MODE_AF_OD;
  GPIO_InitStruct.Pull = GPIO_PULLUP;
  GPIO_InitStruct.Speed = GPIO_SPEED_FREQ_VERY_HIGH;
  GPIO_InitStruct.Alternate = GPIO_AF4_I2C1;
  HAL_GPIO_Init(GPIOB, &GPIO_InitStruct);

  /*Configure GPIO pin : GYRO_INT2_Pin */
  GPIO_InitStruct.Pin = GYRO_INT2_Pin;
  GPIO_InitStruct.Mode = GPIO_MODE_EVT_RISING;
  GPIO_InitStruct.Pull = GPIO_NOPULL;
  HAL_GPIO_Init(GYRO_INT2_GPIO_Port, &GPIO_InitStruct);

  /*Configure GPIO pin : XL_CS_Pin */
  GPIO_InitStruct.Pin = XL_CS_Pin;
  GPIO_InitStruct.Mode = GPIO_MODE_OUTPUT_PP;
  GPIO_InitStruct.Pull = GPIO_NOPULL;
  GPIO_InitStruct.Speed = GPIO_SPEED_FREQ_LOW;
  HAL_GPIO_Init(XL_CS_GPIO_Port, &GPIO_InitStruct);

  /*Configure GPIO pin : XL_INT_Pin */
  GPIO_InitStruct.Pin = XL_INT_Pin;
  GPIO_InitStruct.Mode = GPIO_MODE_EVT_RISING;
  GPIO_InitStruct.Pull = GPIO_NOPULL;
  HAL_GPIO_Init(XL_INT_GPIO_Port, &GPIO_InitStruct);

}

void Error_Handler(void)
{
  __disable_irq();
  while (1)
  {
  }
}
